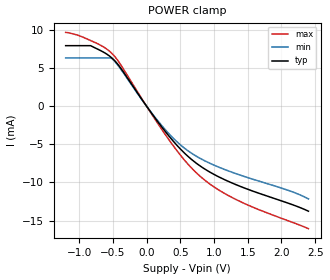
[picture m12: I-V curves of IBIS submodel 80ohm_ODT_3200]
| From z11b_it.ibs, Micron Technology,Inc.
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| SUBMODEL 80ohm_ODT_3200
[Submodel]   80ohm_ODT_3200
Submodel_type  Dynamic_clamp
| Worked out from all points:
|   POWER clamp passes 1 mA (typ) near -0.08 V on its own axis
[POWER Clamp]
|   Voltage   I(typ)   I(min)   I(max)
-1.2V     7.942mA    6.335mA    9.683mA
-830mV    7.942mA    6.335mA    8.614mA
-515mV    6.329mA    6.259mA    6.929mA
-400mV    5.196mA    5.071mA    5.657mA
0V        40.11nA    37.85nA    40.83nA
310mV     -3.677mA   -3.4mA     -4.129mA
595mV     -6.423mA   -5.723mA   -7.408mA
855mV     -8.192mA   -7.123mA   -9.643mA
1.145V    -9.584mA   -8.254mA   -11.38mA
1.44V     -10.69mA   -9.188mA   -12.71mA
2.1V      -12.71mA   -11.03mA   -15.02mA
2.4V      -13.76mA   -12.15mA   -16.05mA
